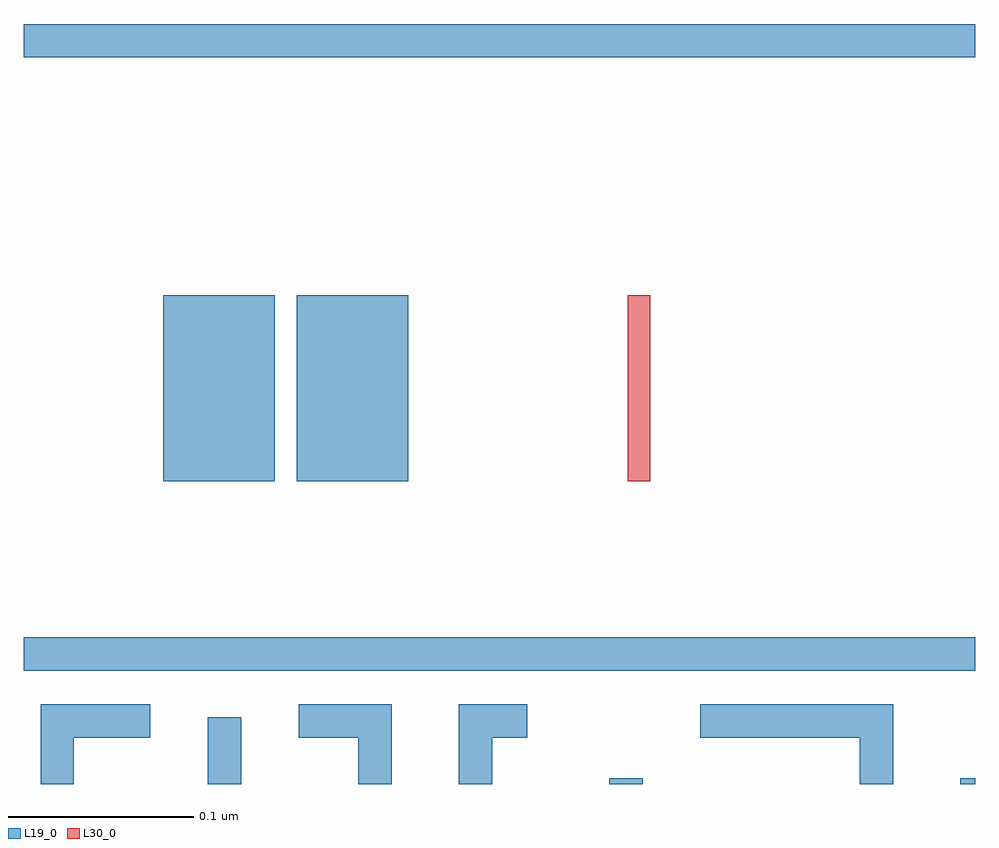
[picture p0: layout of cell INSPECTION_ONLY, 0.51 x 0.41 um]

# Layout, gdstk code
import gdstk
lib = gdstk.Library(unit=1e-6, precision=2.5e-10)
def R(c, l, rs):  # rectangles x0, y0, x1, y1
    for r in rs: c.add(gdstk.rectangle(r[:2], r[2:], *l))
def P(c, l, *ps):  # polygons
    for p in ps: c.add(gdstk.Polygon(p, *l))
L19_0 = (19, 0)
L30_0 = (30, 0)

inspection_only = lib.new_cell('INSPECTION_ONLY')
R(inspection_only, L19_0, [(8.099,0.2,8.117,0.236), (8.315,0.2,8.333,0.203), (8.504,0.2,8.512,0.203), (8,0.261,8.512,0.279), (8.075,0.363,8.135,0.463), (8.147,0.363,8.207,0.463), (8,0.591,8.512,0.609)])
P(inspection_only, L19_0, [(8.009,0.2),(8.009,0.243),(8.068,0.243),(8.068,0.225),(8.027,0.225),(8.027,0.2)],
  [(8.18,0.2),(8.18,0.225),(8.148,0.225),(8.148,0.243),(8.198,0.243),(8.198,0.2)],
  [(8.234,0.2),(8.234,0.243),(8.271,0.243),(8.271,0.225),(8.252,0.225),(8.252,0.2)],
  [(8.45,0.2),(8.45,0.225),(8.364,0.225),(8.364,0.243),(8.468,0.243),(8.468,0.2)])
R(inspection_only, L30_0, [(8.325,0.363,8.337,0.463)])

lib.write_gds('INSPECTION_ONLY.gds')
